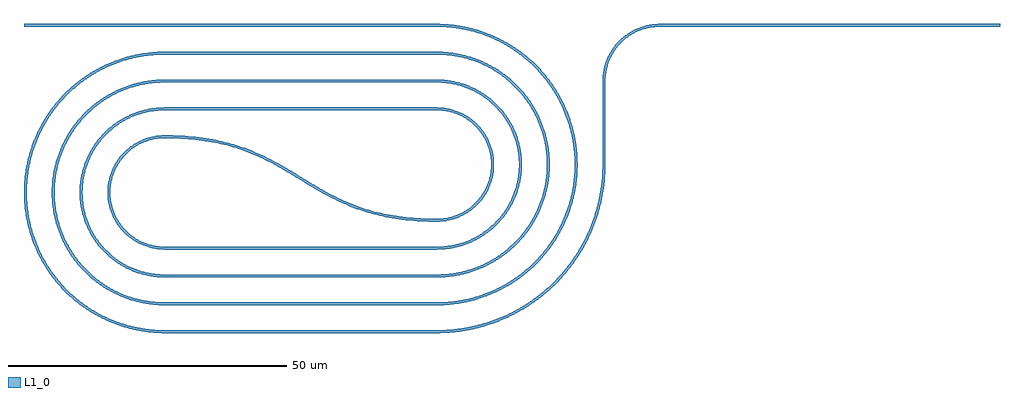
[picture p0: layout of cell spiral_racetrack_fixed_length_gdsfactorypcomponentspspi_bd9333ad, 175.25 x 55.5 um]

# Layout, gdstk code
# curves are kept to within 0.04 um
from math import pi, radians
import gdstk
lib = gdstk.Library(unit=1e-6, precision=1e-09)
def R(c, l, rs):  # rectangles x0, y0, x1, y1
    for r in rs: c.add(gdstk.rectangle(r[:2], r[2:], *l))
def P(c, l, *ps):  # polygons
    for p in ps: c.add(gdstk.Polygon(p, *l))
L1_0 = (1, 0)

bend_s_gdsfactorypcompon = lib.new_cell('bend_s_gdsfactorypcomponentspbendspbend_s_S48p891782809_e6fcf4f1')
P(bend_s_gdsfactorypcompon, L1_0, [(48.892,-15.25),(45.318,-15.136),(42.086,-14.811),(39.157,-14.298),(35.989,-13.468),(33.136,-12.443),(30.121,-11.059),(27.34,-9.537),(22.062,-6.344),(19.747,-5.02),(17.302,-3.78),(14.66,-2.664),(12.754,-2.01),(11.235,-1.574),(7.929,-0.866),(6.124,-0.604),(4.207,-0.411),(2.168,-0.291),(0,-0.25),(0,0.25),(3.574,0.136),(6.806,-0.189),(9.735,-0.702),(12.903,-1.532),(15.755,-2.557),(18.771,-3.941),(21.552,-5.463),(26.83,-8.656),(29.145,-9.98),(31.59,-11.22),(34.232,-12.336),(36.137,-12.99),(37.656,-13.426),(40.963,-14.134),(42.768,-14.396),(44.685,-14.589),(46.724,-14.709),(48.892,-14.75)])

bend_circular_gdsfactory = lib.new_cell('bend_circular_gdsfactorypcomponentspbendspbend_circular_4b1750de')
P(bend_circular_gdsfactory, L1_0, [(0,-0.25),(0,0.25),(1.232,0.328),(2.204,0.502),(3.154,0.774),(4.294,1.246),(5.771,2.141),(7.067,3.283),(8.141,4.635),(8.642,5.486),(9.054,6.383),(9.374,7.318),(9.597,8.28),(9.75,10),(9.597,11.72),(9.374,12.682),(9.054,13.617),(8.642,14.514),(8.141,15.365),(7.067,16.717),(5.771,17.859),(4.294,18.754),(3.154,19.226),(2.204,19.498),(1.232,19.672),(0,19.75),(0,20.25),(1.037,20.197),(2.063,20.04),(2.82,19.855),(3.802,19.519),(4.746,19.085),(5.641,18.558),(6.477,17.944),(7.248,17.248),(7.944,16.477),(8.558,15.641),(9.085,14.746),(9.519,13.802),(9.855,12.82),(10.04,12.063),(10.197,11.037),(10.25,10),(10.197,8.963),(10.04,7.937),(9.855,7.18),(9.519,6.198),(9.085,5.254),(8.558,4.359),(7.944,3.523),(7.248,2.752),(6.477,2.056),(5.641,1.442),(4.746,0.915),(3.802,0.481),(2.82,0.145),(2.063,-0.04),(1.037,-0.197)])

straight_gdsfactorypcomp = lib.new_cell('straight_gdsfactorypcomponentspwaveguidespstraight_L48p_e85f5d79')
R(straight_gdsfactorypcomp, L1_0, [(0,-0.25,48.892,0.25)])

c_bend_circular_gdsfactory = lib.new_cell('bend_circular_gdsfactorypcomponentspbendspbend_circular_9561282e')
P(c_bend_circular_gdsfactory, L1_0, [(0,-0.25),(0,0.25),(1.74,0.353),(3.213,0.604),(4.653,1.003),(6.271,1.65),(7.375,2.226),(8.426,2.894),(9.608,3.808),(10.518,4.659),(11.51,5.776),(12.247,6.779),(13.016,8.061),(13.651,9.413),(14.146,10.823),(14.496,12.275),(14.674,13.508),(14.75,15),(14.674,16.492),(14.496,17.725),(14.146,19.177),(13.651,20.587),(13.016,21.939),(12.247,23.221),(11.51,24.224),(10.518,25.341),(9.608,26.192),(8.426,27.106),(7.375,27.774),(6.271,28.35),(4.653,28.997),(3.213,29.396),(1.74,29.647),(0,29.75),(0,30.25),(1.286,30.196),(2.817,29.988),(4.319,29.626),(5.776,29.114),(7.175,28.457),(8.284,27.804),(9.537,26.9),(10.692,25.874),(11.737,24.737),(12.662,23.499),(13.457,22.175),(14.114,20.776),(14.626,19.319),(14.988,17.817),(15.196,16.286),(15.25,15),(15.196,13.714),(14.988,12.183),(14.626,10.681),(14.114,9.224),(13.457,7.825),(12.804,6.716),(11.9,5.463),(10.874,4.308),(9.737,3.263),(8.499,2.338),(7.175,1.543),(5.776,0.886),(4.319,0.374),(2.817,0.012),(1.286,-0.196)])

c_bend_circular_gdsfactory_ = lib.new_cell('bend_circular_gdsfactorypcomponentspbendspbend_circular_b5e3dba6')
P(c_bend_circular_gdsfactory_, L1_0, [(0,-0.25),(0,0.25),(2.238,0.377),(4.204,0.703),(6.127,1.224),(8.215,2.039),(9.767,2.834),(11.243,3.762),(12.631,4.817),(14.097,6.167),(15.419,7.658),(16.447,9.066),(17.465,10.779),(18.306,12.586),(18.96,14.468),(19.374,16.162),(19.637,17.886),(19.75,19.875),(19.662,21.866),(19.374,23.838),(18.96,25.532),(18.306,27.414),(17.465,29.221),(16.447,30.934),(15.419,32.342),(14.097,33.833),(12.631,35.183),(11.243,36.238),(9.767,37.166),(8.215,37.961),(6.127,38.776),(4.204,39.297),(2.238,39.623),(0,39.75),(0,40.25),(2.04,40.147),(4.06,39.839),(6.039,39.329),(7.72,38.721),(9.567,37.848),(11.317,36.793),(12.754,35.729),(14.274,34.364),(15.648,32.853),(16.864,31.21),(17.908,29.454),(18.672,27.838),(19.29,26.16),(19.813,24.185),(20.134,22.168),(20.25,20.128),(20.159,18.087),(19.864,16.065),(19.44,14.328),(18.769,12.398),(17.908,10.546),(17.004,9.003),(15.809,7.346),(14.454,5.817),(12.951,4.433),(11.317,3.207),(9.567,2.152),(7.72,1.279),(6.039,0.671),(4.06,0.161),(2.04,-0.147)])

c_bend_circular_gdsfactory__ = lib.new_cell('bend_circular_gdsfactorypcomponentspbendspbend_circular_5281f12a')
P(c_bend_circular_gdsfactory__, L1_0, [(0,-0.25),(0,0.25),(2.496,0.376),(5.211,0.805),(7.862,1.532),(10.188,2.444),(12.194,3.462),(14.099,4.659),(15.888,6.023),(17.545,7.543),(19.057,9.208),(20.553,11.211),(21.839,13.354),(22.806,15.384),(23.585,17.495),(24.221,19.911),(24.611,22.38),(24.75,24.875),(24.659,27.123),(24.319,29.598),(23.731,32.027),(22.902,34.385),(21.839,36.646),(20.691,38.581),(19.373,40.403),(17.72,42.279),(16.079,43.816),(14.304,45.198),(12.194,46.538),(10.188,47.556),(7.862,48.468),(5.211,49.195),(2.496,49.624),(0,49.75),(0,50.25),(2.292,50.146),(4.817,49.786),(7.292,49.174),(9.692,48.316),(11.769,47.34),(13.962,46.039),(16.012,44.524),(17.719,42.989),(19.279,41.306),(20.825,39.279),(22.159,37.106),(23.266,34.81),(24.061,32.657),(24.711,30.192),(25.108,27.673),(25.25,25.128),(25.134,22.581),(24.762,20.058),(24.211,17.831),(23.364,15.426),(22.28,13.118),(20.968,10.932),(19.442,8.889),(17.899,7.191),(16.209,5.639),(14.174,4.103),(11.994,2.781),(9.692,1.684),(7.292,0.826),(4.817,0.214),(2.292,-0.146)])

c_bend_circular_gdsfactory___ = lib.new_cell('bend_circular_gdsfactorypcomponentspbendspbend_circular_275ea23c')
P(c_bend_circular_gdsfactory___, L1_0, [(0,-0.25),(0,0.25),(3.01,0.403),(5.989,0.859),(8.906,1.614),(10.568,2.19),(11.963,2.761),(14.438,3.988),(16.788,5.44),(18.994,7.103),(21.036,8.964),(22.897,11.006),(24.56,13.212),(26.012,15.562),(27.239,18.037),(27.81,19.432),(28.386,21.094),(29.141,24.011),(29.597,26.99),(29.75,30),(30.25,30),(30.12,27.194),(29.681,24.161),(29.012,21.433),(27.996,18.542),(26.693,15.768),(25.258,13.354),(23.444,10.884),(21.39,8.61),(19.116,6.556),(16.646,4.742),(14.232,3.307),(11.458,2.004),(8.567,0.988),(5.839,0.319),(2.806,-0.12)])

spiral_racetrack_gdsfact = lib.new_cell('spiral_racetrack_gdsfactorypcomponentspspiralspspiral_h_e400896c')
spiral_racetrack_gdsfact.add(gdstk.Reference(bend_s_gdsfactorypcompon, (0,0)))
spiral_racetrack_gdsfact.add(gdstk.Reference(bend_circular_gdsfactory, (0,0), rotation=pi))
spiral_racetrack_gdsfact.add(gdstk.Reference(straight_gdsfactorypcomp, (0,-20)))
spiral_racetrack_gdsfact.add(gdstk.Reference(c_bend_circular_gdsfactory, (48.892,-20)))
spiral_racetrack_gdsfact.add(gdstk.Reference(straight_gdsfactorypcomp, (48.892,10), rotation=pi))
spiral_racetrack_gdsfact.add(gdstk.Reference(c_bend_circular_gdsfactory_, (0,10), rotation=pi))
spiral_racetrack_gdsfact.add(gdstk.Reference(straight_gdsfactorypcomp, (0,-30)))
spiral_racetrack_gdsfact.add(gdstk.Reference(c_bend_circular_gdsfactory__, (48.892,-30)))
spiral_racetrack_gdsfact.add(gdstk.Reference(straight_gdsfactorypcomp, (48.892,20), rotation=pi))
spiral_racetrack_gdsfact.add(gdstk.Reference(bend_circular_gdsfactory, (48.892,-15)))
spiral_racetrack_gdsfact.add(gdstk.Reference(straight_gdsfactorypcomp, (48.892,5), rotation=pi))
spiral_racetrack_gdsfact.add(gdstk.Reference(c_bend_circular_gdsfactory, (0,5), rotation=pi))
spiral_racetrack_gdsfact.add(gdstk.Reference(straight_gdsfactorypcomp, (0,-25)))
spiral_racetrack_gdsfact.add(gdstk.Reference(c_bend_circular_gdsfactory_, (48.892,-25)))
spiral_racetrack_gdsfact.add(gdstk.Reference(straight_gdsfactorypcomp, (48.892,15), rotation=pi))
spiral_racetrack_gdsfact.add(gdstk.Reference(c_bend_circular_gdsfactory__, (0,15), rotation=pi))
spiral_racetrack_gdsfact.add(gdstk.Reference(straight_gdsfactorypcomp, (0,-35)))
spiral_racetrack_gdsfact.add(gdstk.Reference(c_bend_circular_gdsfactory___, (48.892,-35)))

c_straight_gdsfactorypcomp = lib.new_cell('straight_gdsfactorypcomponentspwaveguidespstraight_L25p_cd3c7cb2')
R(c_straight_gdsfactorypcomp, L1_0, [(0,-0.25,25.25,0.25)])

c_bend_circular_gdsfactory____ = lib.new_cell('bend_circular_gdsfactorypcomponentspbendspbend_circular_7d8e4b82')
P(c_bend_circular_gdsfactory____, L1_0, [(0,-0.25),(0,0.25),(1.003,0.302),(1.994,0.456),(3.203,0.791),(4.133,1.169),(5.649,2.053),(6.805,3.018),(7.947,4.351),(8.721,5.641),(9.209,6.797),(9.489,7.761),(9.669,8.748),(9.75,10),(10.25,10),(10.196,8.946),(10.084,8.162),(9.842,7.135),(9.495,6.139),(9.169,5.417),(8.649,4.499),(8.037,3.639),(7.341,2.846),(6.566,2.129),(5.722,1.496),(4.817,0.953),(3.861,0.505),(2.865,0.158),(1.838,-0.084),(1.054,-0.196)])

c_straight_gdsfactorypcomp_ = lib.new_cell('straight_gdsfactorypcomponentspwaveguidespstraight_L15__872c1d86')
R(c_straight_gdsfactorypcomp_, L1_0, [(0,-0.25,15,0.25)])

c_straight_gdsfactorypcomp__ = lib.new_cell('straight_gdsfactorypcomponentspwaveguidespstraight_L61p_390dc621')
R(c_straight_gdsfactorypcomp__, L1_0, [(0,-0.25,61.108,0.25)])

spiral_racetrack_fixed_l = lib.new_cell('spiral_racetrack_fixed_length_gdsfactorypcomponentspspi_bd9333ad')
spiral_racetrack_fixed_l.add(gdstk.Reference(spiral_racetrack_gdsfact, (0,0)))
spiral_racetrack_fixed_l.add(gdstk.Reference(c_straight_gdsfactorypcomp, (0,20), rotation=pi))
spiral_racetrack_fixed_l.add(gdstk.Reference(c_bend_circular_gdsfactory____, (88.892,20), rotation=pi))
spiral_racetrack_fixed_l.add(gdstk.Reference(c_straight_gdsfactorypcomp_, (78.892,-5), rotation=pi/2))
spiral_racetrack_fixed_l.add(gdstk.Reference(c_straight_gdsfactorypcomp__, (88.892,20)))

lib.write_gds('spiral_racetrack_fixed_length_gdsfactorypcomponentspspi_bd9333ad.gds')
